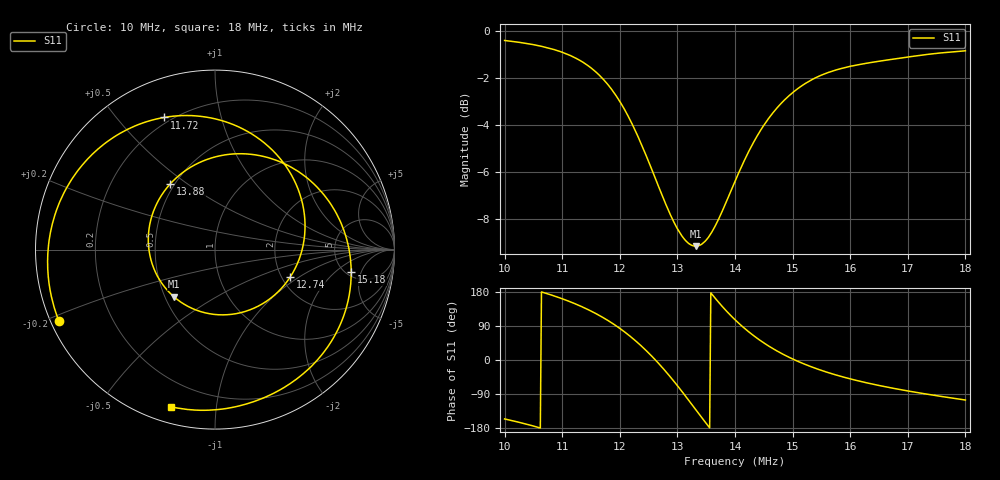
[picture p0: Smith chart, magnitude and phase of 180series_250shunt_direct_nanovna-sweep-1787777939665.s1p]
! NanoVNA Web complex sweep
! Processing: original sample grid, no browser smoothing
# Hz S RI R 50
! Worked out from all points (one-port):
!   401 points, 10 MHz to 18 MHz, reference 50 ohm
!   lowest |S11| = -9.2 dB at 13.32 MHz (marker M1), VSWR 2.07, Z = 27.8 - j16.6 ohm
!   |S11| at or under -10 dB: nowhere
!   S11 on the Smith chart (normalised r, x): 10 MHz: 0.02, -0.22; 11.72 MHz: 0.17, +0.67; 12.74 MHz: 2.21, -0.85; 13.88 MHz: 0.47, +0.43; 15.18 MHz: 5.57, -3.36; 18 MHz: 0.07, -0.76
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1e7  -0.8707 -0.3962
1.056e7  -0.9323 -0.0518
1.1e7  -0.8567 0.2844
1.136e7  -0.6522 0.56
1.172e7  -0.2831 0.7364
1.2e7  0.0812 0.7044
1.218e7  0.2984 0.5741
1.24e7  0.4725 0.31
1.256e7  0.4995 0.0821
1.274e7  0.4181 -0.1542
1.3e7  0.1442 -0.3511
1.316e7  -0.0562 -0.3519
1.332e7  -0.23 -0.2618
1.346e7  -0.3323 -0.1249
1.36e7  -0.3715 0.0426
1.374e7  -0.3425 0.2142
1.388e7  -0.2512 0.3641
1.4e7  -0.1343 0.4599
1.42e7  0.1024 0.5329
1.44e7  0.3399 0.4981
1.47e7  0.6096 0.3021
1.5e7  0.7394 0.0353
1.518e7  0.7587 -0.1235
1.558e7  0.6947 -0.4244
1.6e7  0.5436 -0.6441
1.646e7  0.3513 -0.7875
1.7e7  0.1285 -0.8725
1.8e7  -0.2447 -0.8757
